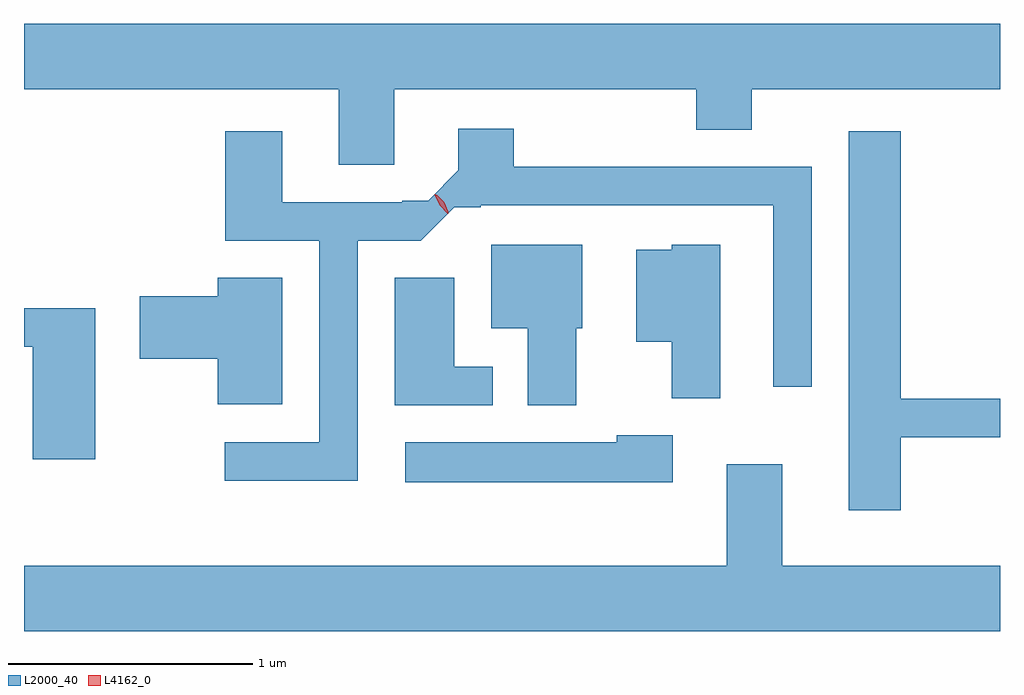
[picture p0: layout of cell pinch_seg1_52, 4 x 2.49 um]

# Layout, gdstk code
import gdstk
lib = gdstk.Library(unit=1e-6, precision=1e-09)
def P(c, l, *ps):  # polygons
    for p in ps: c.add(gdstk.Polygon(p, *l))
L2000_40 = (2000, 40)
L4162_0 = (4162, 0)

pinch_seg1_52 = lib.new_cell('pinch_seg1_52')
P(pinch_seg1_52, L2000_40, [(1402.969,870.716),(1404.206,870.716),(1404.206,870.551),(1404.434,870.551),(1404.434,870.716),(1405.451,870.716),(1405.451,870.984),(1401.451,870.984),(1401.451,870.716),(1402.741,870.716),(1402.741,870.406),(1402.969,870.406)],
  [(1402.819,870.096),(1403.077,870.096),(1403.214,870.233),(1403.322,870.233),(1403.322,870.241),(1404.521,870.241),(1404.521,869.498),(1404.679,869.498),(1404.679,870.399),(1403.459,870.399),(1403.459,870.554),(1403.231,870.554),(1403.231,870.384),(1403.107,870.26),(1403.001,870.26),(1403.001,870.254),(1402.509,870.254),(1402.509,870.544),(1402.276,870.544),(1402.276,870.096),(1402.661,870.096),(1402.661,869.269),(1402.273,869.269),(1402.273,869.111),(1402.819,869.111)],
  [(1405.044,869.291),(1405.451,869.291),(1405.451,869.449),(1405.044,869.449),(1405.044,870.544),(1404.831,870.544),(1404.831,868.991),(1405.044,868.991)],
  [(1404.304,870.079),(1404.106,870.079),(1404.106,870.059),(1403.961,870.059),(1403.961,869.681),(1404.106,869.681),(1404.106,869.451),(1404.304,869.451)],
  [(1403.714,869.736),(1403.739,869.736),(1403.739,870.079),(1403.366,870.079),(1403.366,869.736),(1403.516,869.736),(1403.516,869.421),(1403.714,869.421)],
  [(1402.509,869.944),(1402.246,869.944),(1402.246,869.869),(1401.926,869.869),(1401.926,869.611),(1402.246,869.611),(1402.246,869.426),(1402.509,869.426)],
  [(1403.373,869.579),(1403.214,869.579),(1403.214,869.944),(1402.971,869.944),(1402.971,869.421),(1403.373,869.421)],
  [(1401.744,869.819),(1401.451,869.819),(1401.451,869.661),(1401.486,869.661),(1401.486,869.201),(1401.744,869.201)],
  [(1404.109,869.299),(1403.881,869.299),(1403.881,869.269),(1403.013,869.269),(1403.013,869.106),(1404.109,869.106)],
  [(1405.451,868.764),(1404.559,868.764),(1404.559,869.179),(1404.331,869.179),(1404.331,868.764),(1401.451,868.764),(1401.451,868.496),(1405.451,868.496)])
P(pinch_seg1_52, L4162_0, [(1403.189,870.206),(1403.188,870.207),(1403.154,870.241),(1403.135,870.285),(1403.135,870.286),(1403.136,870.286),(1403.17,870.252),(1403.189,870.207)],
  [(1403.189,870.213),(1403.188,870.214),(1403.157,870.243),(1403.142,870.284),(1403.142,870.285),(1403.143,870.284),(1403.174,870.254),(1403.189,870.214)])

lib.write_gds('pinch_seg1_52.gds')
